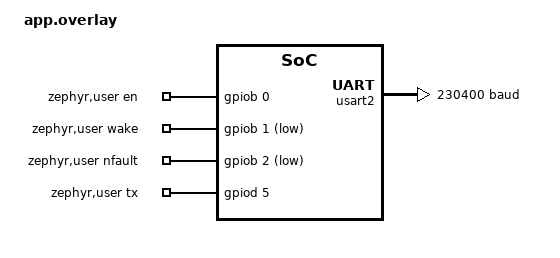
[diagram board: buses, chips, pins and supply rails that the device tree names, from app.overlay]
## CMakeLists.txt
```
# SPDX-License-Identifier: GPL-3.0-or-later
cmake_minimum_required(VERSION 3.20.0)
find_package(Zephyr REQUIRED HINTS $ENV{ZEPHYR_BASE})
project(stm32u5_tiol112)
get_filename_component(STACK_ROOT "${CMAKE_CURRENT_SOURCE_DIR}/../.." ABSOLUTE)
target_include_directories(app PRIVATE ${STACK_ROOT}/include ${STACK_ROOT}/examples/reference_device)
# Deliberately exclude module's Zephyr PHY and millisecond-derived clock.
target_sources(app PRIVATE src/main.c src/adapter.c ${STACK_ROOT}/examples/reference_device/reference_device.c)
foreach(core device crc frame dll isdu events data_storage params device_info phy_generic phy_tiol112)
 target_sources(app PRIVATE ${STACK_ROOT}/src/${core}.c)
endforeach()
```

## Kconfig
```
# SPDX-License-Identifier: GPL-3.0-or-later
mainmenu "STM32U5 TIOL112 source example"
# Declare even when this repo is not discovered as a west module. If it is,
# its Kconfig merges this symbol; prj.conf still explicitly disables it.
config IOLINKI
 bool "Build legacy iolinki Zephyr module"
 default n
source "Kconfig.zephyr"
```

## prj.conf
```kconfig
# SPDX-License-Identifier: GPL-3.0-or-later
CONFIG_GPIO=y
CONFIG_SERIAL=y
CONFIG_UART_INTERRUPT_DRIVEN=y
CONFIG_UART_USE_RUNTIME_CONFIGURE=y
CONFIG_PINCTRL=y
CONFIG_PINCTRL_DYNAMIC=y
CONFIG_MAIN_STACK_SIZE=4096
CONFIG_CONSOLE=n
CONFIG_UART_CONSOLE=n
CONFIG_LOG=n
CONFIG_PM=n
CONFIG_IOLINKI=n
```

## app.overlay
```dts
/* SPDX-License-Identifier: GPL-3.0-or-later */
/ {
 zephyr,user {
  en-gpios = <&gpiob 0 GPIO_ACTIVE_HIGH>;
  wake-gpios = <&gpiob 1 GPIO_ACTIVE_LOW>;
  nfault-gpios = <&gpiob 2 GPIO_ACTIVE_LOW>;
  tx-gpios = <&gpiod 5 GPIO_ACTIVE_HIGH>;
 };
};
/* PB0 is reserved for EN, not the board's ADC4 channel. */
&adc4 { status = "disabled"; };
&usart2 { current-speed = <230400>; status = "okay"; };
/* TIM2 is owned directly by adapter.c; leave Zephyr timer drivers disabled. */
```

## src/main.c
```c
/* SPDX-License-Identifier: GPL-3.0-or-later */
#include "adapter.h"
#include "reference_device.h"
#include "iolinki/time_utils.h"
#include <zephyr/kernel.h>
#include <zephyr/drivers/gpio.h>
static reference_device_t app;
static iolink_tiol112_ctx_t phy;
static const struct gpio_dt_spec button = GPIO_DT_SPEC_GET(DT_ALIAS(sw0), gpios);
static const struct gpio_dt_spec led = GPIO_DT_SPEC_GET(DT_ALIAS(led0), gpios);
int main(void)
{
    int rc = board_clock_init();
    if (rc) {
        board_adapter_error = rc;
        return rc;
    }
    if (!gpio_is_ready_dt(&button) || !gpio_is_ready_dt(&led)) return -ENODEV;
    if ((rc = gpio_pin_configure_dt(&button, GPIO_INPUT)) ||
        (rc = gpio_pin_configure_dt(&led, GPIO_OUTPUT_INACTIVE)))
        return rc;
    if ((rc = iolink_phy_tiol112_init(&phy, &board_tiol112_io)) ||
        (rc = reference_device_init(&app, iolink_phy_tiol112_get(&phy)))) {
        board_adapter_error = rc;
        return rc;
    }
    uint64_t next_sample = iolink_time_get_us();
    for (;;) {
        iolink_device_process(&app.device);
        board_nfault_asserted = iolink_phy_tiol112_fault(&phy);
        uint64_t now = iolink_time_get_us();
        if (now >= next_sample) {
            int pressed = gpio_pin_get_dt(&button);
            if (pressed < 0) {
                board_adapter_error = pressed;
                continue;
            }
            rc = reference_device_tick(&app, pressed > 0);
            if (rc) board_adapter_error = rc;
            rc = gpio_pin_set_dt(&led, app.led);
            if (rc) board_adapter_error = rc;
            next_sample = now + 10000U;
        }
        /* No k_sleep: protocol service remains independent of 10 ms sampling. */
    }
}
```

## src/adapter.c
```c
/* SPDX-License-Identifier: GPL-3.0-or-later */
#include "adapter.h"
#include "adapter_state.h"
#include "iolinki/time_utils.h"
#include "iolinki/platform.h"
#include <zephyr/kernel.h>
#include <zephyr/drivers/gpio.h>
#include <zephyr/drivers/uart.h>
#include <zephyr/drivers/pinctrl.h>
#include <zephyr/drivers/clock_control.h>
#include <zephyr/drivers/clock_control/stm32_clock_control.h>
#include <stm32u5xx_ll_usart.h>
#include <stm32u5xx_ll_tim.h>
#define IO DT_PATH(zephyr_user)
#define UART_NODE DT_NODELABEL(usart2)
PINCTRL_DT_DEV_CONFIG_DECLARE(UART_NODE);
static const struct device * const serial = DEVICE_DT_GET(UART_NODE);
static const struct gpio_dt_spec en = GPIO_DT_SPEC_GET(IO, en_gpios);
static const struct gpio_dt_spec wake = GPIO_DT_SPEC_GET(IO, wake_gpios);
static const struct gpio_dt_spec nfault = GPIO_DT_SPEC_GET(IO, nfault_gpios);
static const struct gpio_dt_spec tx = GPIO_DT_SPEC_GET(IO, tx_gpios);
static USART_TypeDef * const usart = (USART_TypeDef *) DT_REG_ADDR(UART_NODE);
static TIM_TypeDef * const timer = (TIM_TypeDef *) DT_REG_ADDR(DT_NODELABEL(timers2));
static struct micro_clock clock_state;
static struct rx_ring rx;
static struct gpio_callback wake_callback;
static bool waking, transmitting;
static int rx_error;
static uint32_t baudrate;
volatile uint32_t board_rx_dropped, board_uart_errors;
volatile int board_adapter_error, board_nfault_asserted;
static unsigned critical_depth, critical_key;

/* Single-core sample: nest safely and restore the original IRQ state. */
void iolink_critical_enter(void)
{
    unsigned key = irq_lock();
    if (critical_depth++ == 0) critical_key = key;
}
void iolink_critical_exit(void)
{
    __ASSERT(critical_depth != 0, "Unbalanced stack critical section");
    if (--critical_depth == 0) irq_unlock(critical_key);
}
/* No flash layout or endurance contract is supplied. Fail explicitly. */
int iolink_nvm_read(uint32_t offset, uint8_t *data, size_t len)
{
    (void) offset;
    (void) data;
    (void) len;
    return -1;
}
int iolink_nvm_write(uint32_t offset, const uint8_t *data, size_t len)
{
    (void) offset;
    (void) data;
    (void) len;
    return -1;
}
int board_clock_init(void)
{
    const struct device *rcc = DEVICE_DT_GET(DT_NODELABEL(rcc));
    struct stm32_pclken gate = {.bus = DT_CLOCKS_CELL(DT_NODELABEL(timers2), bus),
                                .enr = DT_CLOCKS_CELL(DT_NODELABEL(timers2), bits)};
    uint32_t rate;
    /* APB timer doubling changes with prescaler; reject unsupported clock trees. */
    BUILD_ASSERT(DT_PROP(DT_NODELABEL(rcc), apb1_prescaler) == 1);
    if (!device_is_ready(rcc) || clock_control_on(rcc, (clock_control_subsys_t) &gate) ||
        clock_control_get_rate(rcc, (clock_control_subsys_t) &gate, &rate))
        return -EIO;
    if (rate < 1000000U || rate % 1000000U) return -EINVAL;
    LL_TIM_DisableCounter(timer);
    LL_TIM_SetPrescaler(timer, rate / 1000000U - 1U);
    LL_TIM_SetAutoReload(timer, UINT32_MAX);
    LL_TIM_SetCounter(timer, 0);
    LL_TIM_GenerateEvent_UPDATE(timer);
    LL_TIM_ClearFlag_UPDATE(timer);
    clock_state = (struct micro_clock){0};
    LL_TIM_EnableCounter(timer);
    return 0;
}
uint64_t iolink_time_get_us(void)
{
    unsigned key = irq_lock();
    uint64_t value = micro_extend(&clock_state, LL_TIM_GetCounter(timer));
    irq_unlock(key);
    return value;
}
uint32_t iolink_time_get_ms(void)
{
    return (uint32_t) (iolink_time_get_us() / 1000U);
}
static void on_wake(const struct device *port, struct gpio_callback *cb, uint32_t pins)
{
    (void) port;
    (void) cb;
    (void) pins;
    waking = true;
}
static void on_uart(const struct device *dev, void *user)
{
    (void) user;
    if (!uart_irq_update(dev)) return;
    int errors = uart_err_check(dev);
    if (errors != 0 && !transmitting) {
        rx_error = errors < 0 ? errors : -EIO;
        board_uart_errors++;
    }
    while (uart_irq_rx_ready(dev)) {
        uint8_t bytes[16];
        int n = uart_fifo_read(dev, bytes, sizeof(bytes));
        if (n <= 0) break;
        for (int i = 0; i < n; i++)
            if (!transmitting) rx_push(&rx, bytes[i]);
    }
    board_rx_dropped = rx.dropped;
}
static void discard_echo(void)
{
    uint8_t b;
    while (uart_fifo_read(serial, &b, 1) > 0) {
    }
    int errors = uart_err_check(serial);
    if (errors < 0) board_adapter_error = errors;
}
static int init(void *user)
{
    (void) user;
    if (!gpio_is_ready_dt(&en)) return -ENODEV;
    int rc = gpio_pin_configure_dt(&en, GPIO_OUTPUT_INACTIVE);
    if (rc) return rc;
    if (!device_is_ready(serial) || !gpio_is_ready_dt(&tx) || !gpio_is_ready_dt(&wake) ||
        !gpio_is_ready_dt(&nfault))
        return -ENODEV;
    if ((rc = gpio_pin_configure_dt(&wake, GPIO_INPUT | GPIO_PULL_UP)) ||
        (rc = gpio_pin_configure_dt(&nfault, GPIO_INPUT | GPIO_PULL_UP)))
        return rc;
    /* Initialize before enabling edges; never overwrite an IRQ-latched pulse. */
    if ((rc = gpio_pin_interrupt_configure_dt(&wake, GPIO_INT_DISABLE))) return rc;
    waking = false;
    gpio_init_callback(&wake_callback, on_wake, BIT(wake.pin));
    if ((rc = gpio_add_callback(wake.port, &wake_callback)) ||
        (rc = gpio_pin_interrupt_configure_dt(&wake, GPIO_INT_EDGE_TO_ACTIVE)))
        return rc;
    if ((rc = uart_irq_callback_user_data_set(serial, on_uart, NULL))) return rc;
    uart_irq_rx_disable(serial);
    unsigned key = irq_lock();
    rc = wake_merge_sample(&waking, gpio_pin_get_dt(&wake));
    irq_unlock(key);
    if (rc < 0) {
        (void) gpio_pin_interrupt_configure_dt(&wake, GPIO_INT_DISABLE);
        return rc;
    }
    return 0;
}
static void enable(void *user, bool enabled)
{
    (void) user;
    int rc = gpio_pin_set_dt(&en, enabled && board_adapter_error == 0);
    if (rc) board_adapter_error = rc;
}
static void sio(void *user, bool high)
{
    (void) user;
    uart_irq_rx_disable(serial);
    uart_irq_err_disable(serial);
    unsigned key = irq_lock();
    discard_echo();
    rx.head = rx.tail = 0;
    rx.overflow = false;
    rx_error = 0;
    LL_USART_Disable(usart);
    /* gpio_pin_configure switches PD5 from AF7 to GPIO; initial level avoids glitch. */
    int rc = gpio_pin_configure_dt(&tx, high ? GPIO_OUTPUT_ACTIVE : GPIO_OUTPUT_INACTIVE);
    if (rc) {
        board_adapter_error = rc;
        (void) gpio_pin_set_dt(&en, 0);
    }
    irq_unlock(key);
}
static int configure(void *user, uint32_t baud)
{
    (void) user;
    uart_irq_rx_disable(serial);
    uart_irq_err_disable(serial);
    unsigned key = irq_lock();
    discard_echo();
    rx.head = rx.tail = 0;
    rx.overflow = false;
    rx_error = 0;
    irq_unlock(key);
    int rc = pinctrl_apply_state(PINCTRL_DT_DEV_CONFIG_GET(UART_NODE), PINCTRL_STATE_DEFAULT);
    if (rc) return rc;
    LL_USART_Enable(usart);
    struct uart_config cfg = {.baudrate = baud,
                              .parity = UART_CFG_PARITY_EVEN,
                              .stop_bits = UART_CFG_STOP_BITS_1,
                              .data_bits = UART_CFG_DATA_BITS_8,
                              .flow_ctrl = UART_CFG_FLOW_CTRL_NONE};
    rc = uart_configure(serial, &cfg);
    if (rc) {
        LL_USART_Disable(usart);
        return rc;
    }
    baudrate = baud;
    key = irq_lock();
    discard_echo();
    irq_unlock(key);
    if (board_adapter_error) return board_adapter_error;
    uart_irq_err_enable(serial);
    uart_irq_rx_enable(serial);
    return 0;
}
static int send_complete(void *user, const uint8_t *data, size_t len)
{
    (void) user;
    if (board_adapter_error) return board_adapter_error;
    if (!baudrate || len > 255U) return -EINVAL;
    uint64_t deadline =
        iolink_time_get_us() + (len * 11ULL * 1000000ULL + baudrate - 1) / baudrate + 2000U;
    unsigned key = irq_lock();
    transmitting = true;
    uart_irq_rx_disable(serial);
    discard_echo();
    irq_unlock(key);
    int rc = (int) len;
    for (size_t i = 0; i < len; i++) {
        while (!LL_USART_IsActiveFlag_TXE_TXFNF(usart)) {
            discard_echo();
            if (iolink_time_get_us() >= deadline) {
                rc = -ETIMEDOUT;
                goto done;
            }
        }
        LL_USART_TransmitData8(usart, data[i]);
        discard_echo();
    }
    while (!LL_USART_IsActiveFlag_TC(usart)) {
        discard_echo();
        if (iolink_time_get_us() >= deadline) {
            rc = -ETIMEDOUT;
            break;
        }
    }
done:
    key = irq_lock();
    /* Release C/Q before RX can observe anything beyond the local echo. */
    int disable_rc = gpio_pin_set_dt(&en, 0);
    if (disable_rc) board_adapter_error = disable_rc;
    discard_echo();
    if (rc >= 0 && board_adapter_error) rc = board_adapter_error;
    transmitting = false;
    if (rc < 0) { /* prevent a timed-out partial frame from continuing on CQ */
        (void) gpio_pin_set_dt(&en, 0);
        LL_USART_Disable(usart);
        board_adapter_error = rc;
    }
    else
        uart_irq_rx_enable(serial);
    irq_unlock(key);
    return rc;
}
static int receive(void *user, uint8_t *b)
{
    (void) user;
    unsigned key = irq_lock();
    int rc;
    if (rx_error) {
        rc = rx_error;
        rx_error = 0;
        rx.tail = rx.head;
    }
    else
        rc = rx_pop(&rx, b);
    irq_unlock(key);
    return rc;
}
static int consume(void *user)
{
    (void) user;
    unsigned key = irq_lock();
    bool found = waking;
    waking = false;
    irq_unlock(key);
    return found ? 1 : 0;
}
static bool fault_level(void *user)
{
    (void) user;
    int asserted = gpio_pin_get_dt(&nfault);
    if (asserted < 0) {
        board_adapter_error = asserted;
        return false;
    }
    return asserted == 0; /* callback requires raw high = no fault */
}
const iolink_tiol112_io_t board_tiol112_io = {.init = init,
                                              .set_enable = enable,
                                              .set_sio_tx = sio,
                                              .uart_configure = configure,
                                              .uart_send_complete = send_complete,
                                              .uart_recv = receive,
                                              .consume_wakeup = consume,
                                              .read_nfault = fault_level};
```

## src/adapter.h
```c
/* SPDX-License-Identifier: GPL-3.0-or-later */
#ifndef U5_ADAPTER_H
#define U5_ADAPTER_H
#include "iolinki/phy_tiol112.h"
int board_clock_init(void);
extern const iolink_tiol112_io_t board_tiol112_io;
/* Debugger-visible diagnostics; aggregate faults do not identify a cause. */
extern volatile uint32_t board_rx_dropped, board_uart_errors;
extern volatile int board_adapter_error, board_nfault_asserted;
#endif
```

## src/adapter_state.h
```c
/* SPDX-License-Identifier: GPL-3.0-or-later */
#ifndef ADAPTER_STATE_H
#define ADAPTER_STATE_H
#include <stdint.h>
#include <stdbool.h>
#include <errno.h>
#define RX_CAPACITY 128U
struct rx_ring
{
    uint8_t bytes[RX_CAPACITY];
    unsigned head, tail;
    bool overflow;
    uint32_t dropped;
};
struct micro_clock
{
    uint32_t previous;
    uint64_t elapsed;
};
static inline bool rx_push(struct rx_ring *r, uint8_t b)
{
    unsigned next = (r->head + 1U) % RX_CAPACITY;
    if (next == r->tail || r->overflow) {
        r->overflow = true;
        r->dropped++;
        return false;
    }
    r->bytes[r->head] = b;
    r->head = next;
    return true;
}
static inline int rx_pop(struct rx_ring *r, uint8_t *b)
{
    if (r->overflow) {
        r->tail = r->head;
        r->overflow = false;
        return -ENOSPC;
    }
    if (r->tail == r->head) return 0;
    *b = r->bytes[r->tail];
    r->tail = (r->tail + 1U) % RX_CAPACITY;
    return 1;
}
/* Call at least once every 2^32 us (71.58 minutes), including during TX. */
static inline uint64_t micro_extend(struct micro_clock *c, uint32_t now)
{
    c->elapsed += (uint32_t) (now - c->previous);
    c->previous = now;
    return c->elapsed;
}
/* Merge the sampled level with an IRQ latch while holding the caller's lock. */
static inline int wake_merge_sample(bool *latched, int active)
{
    if (active < 0) return active;
    *latched = *latched || active > 0;
    return 0;
}
#endif
```
